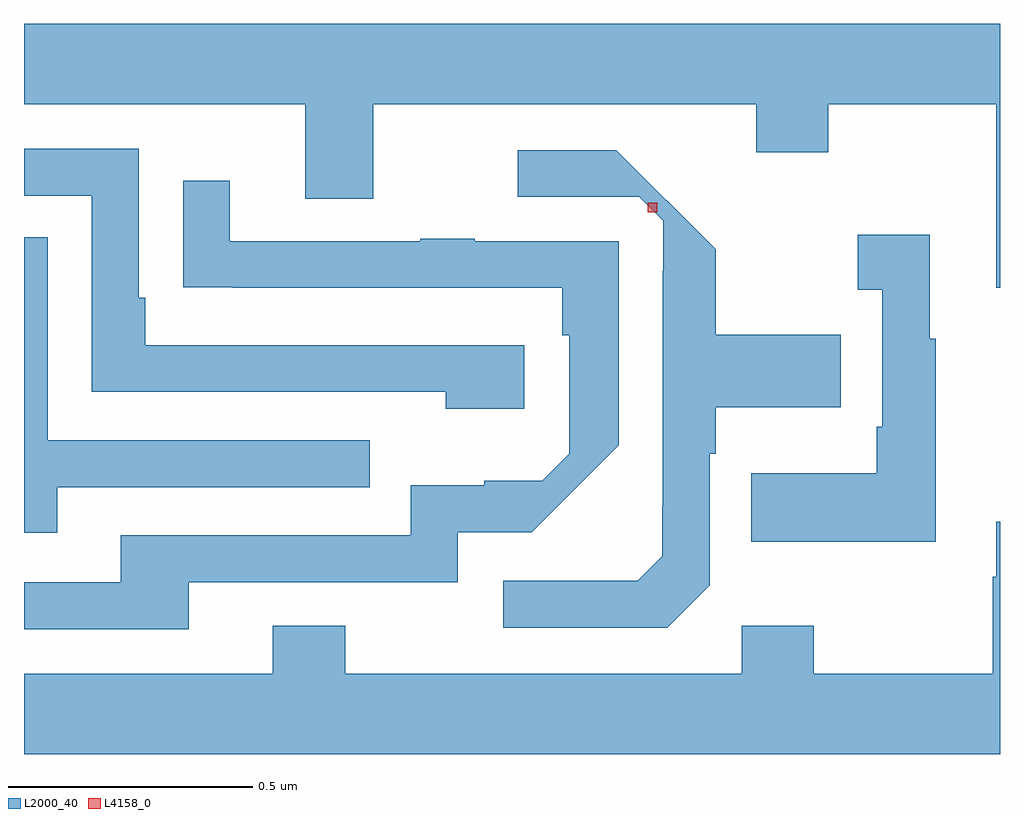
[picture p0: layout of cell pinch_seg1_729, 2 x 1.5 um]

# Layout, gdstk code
import gdstk
lib = gdstk.Library(unit=1e-6, precision=1e-09)
def R(c, l, rs):  # rectangles x0, y0, x1, y1
    for r in rs: c.add(gdstk.rectangle(r[:2], r[2:], *l))
def P(c, l, *ps):  # polygons
    for p in ps: c.add(gdstk.Polygon(p, *l))
L2000_40 = (2000, 40)
L4158_0 = (4158, 0)

pinch_seg1_729 = lib.new_cell('pinch_seg1_729')
P(pinch_seg1_729, L2000_40, [(660.119,554.396),(660.695,554.396),(660.695,554.202),(660.835,554.202),(660.835,554.396),(661.619,554.396),(661.619,554.297),(661.767,554.297),(661.767,554.396),(662.111,554.396),(662.111,554.019),(662.119,554.019),(662.119,554.56),(660.119,554.56)],
  [(661.144,553.902),(660.367,553.902),(660.367,553.999),(660.354,553.999),(660.354,554.304),(660.119,554.304),(660.119,554.208),(660.258,554.208),(660.258,553.806),(660.983,553.806),(660.983,553.772),(661.144,553.772)],
  [(661.524,553.41),(661.524,553.679),(661.537,553.679),(661.537,553.775),(661.793,553.775),(661.793,553.923),(661.537,553.923),(661.537,554.098),(661.333,554.301),(661.131,554.301),(661.131,554.206),(661.38,554.206),(661.429,554.157),(661.429,554.054),(661.428,554.054),(661.428,553.573),(661.427,553.573),(661.427,553.469),(661.377,553.419),(661.101,553.419),(661.101,553.323),(661.437,553.323)],
  [(660.457,553.416),(661.008,553.416),(661.008,553.518),(661.159,553.518),(661.338,553.697),(661.338,554.115),(661.043,554.115),(661.043,554.12),(660.931,554.12),(660.931,554.115),(660.541,554.115),(660.541,554.239),(660.445,554.239),(660.445,554.02),(660.547,554.02),(660.547,554.019),(661.222,554.019),(661.222,553.922),(661.236,553.922),(661.236,553.679),(661.181,553.624),(661.062,553.624),(661.062,553.615),(660.912,553.615),(660.912,553.512),(660.317,553.512),(660.317,553.416),(660.119,553.416),(660.119,553.32),(660.457,553.32)],
  [(661.987,553.915),(661.975,553.915),(661.975,554.128),(661.827,554.128),(661.827,554.015),(661.878,554.015),(661.878,553.735),(661.866,553.735),(661.866,553.639),(661.609,553.639),(661.609,553.499),(661.987,553.499)],
  [(660.187,553.611),(660.827,553.611),(660.827,553.707),(660.168,553.707),(660.168,554.123),(660.119,554.123),(660.119,553.517),(660.187,553.517)],
  [(662.119,553.54),(662.111,553.54),(662.111,553.427),(662.104,553.427),(662.104,553.228),(661.737,553.228),(661.737,553.327),(661.59,553.327),(661.59,553.228),(660.777,553.228),(660.777,553.327),(660.629,553.327),(660.629,553.228),(660.119,553.228),(660.119,553.064),(662.119,553.064)])
R(pinch_seg1_729, L4158_0, [(661.397,554.174,661.417,554.194)])

lib.write_gds('pinch_seg1_729.gds')
